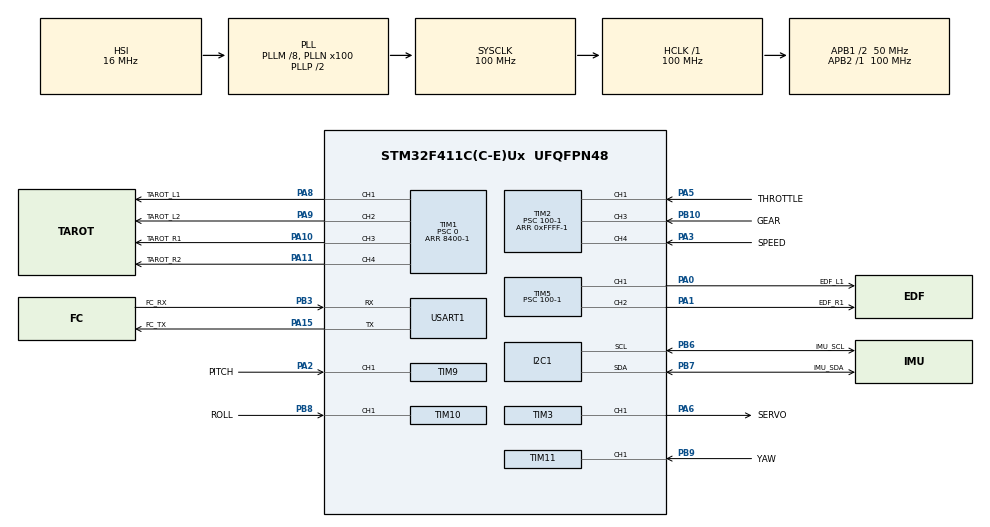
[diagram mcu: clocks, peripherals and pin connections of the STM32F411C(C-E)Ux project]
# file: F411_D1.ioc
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Dma.Request0=TIM3_CH1/TRIG
Dma.TIM3_CH1/TRIG.0.Direction=DMA_MEMORY_TO_PERIPH
Dma.TIM3_CH1/TRIG.0.FIFOMode=DMA_FIFOMODE_ENABLE
Dma.TIM3_CH1/TRIG.0.FIFOThreshold=DMA_FIFO_THRESHOLD_FULL
Dma.TIM3_CH1/TRIG.0.Instance=DMA1_Stream4
Dma.TIM3_CH1/TRIG.0.MemBurst=DMA_MBURST_SINGLE
Dma.TIM3_CH1/TRIG.0.MemDataAlignment=DMA_MDATAALIGN_HALFWORD
Dma.TIM3_CH1/TRIG.0.MemInc=DMA_MINC_ENABLE
Dma.TIM3_CH1/TRIG.0.Mode=DMA_CIRCULAR
Dma.TIM3_CH1/TRIG.0.PeriphBurst=DMA_PBURST_SINGLE
Dma.TIM3_CH1/TRIG.0.PeriphDataAlignment=DMA_PDATAALIGN_HALFWORD
Dma.TIM3_CH1/TRIG.0.PeriphInc=DMA_PINC_DISABLE
Dma.TIM3_CH1/TRIG.0.Priority=DMA_PRIORITY_HIGH
I2C1.I2C_Mode=I2C_Fast
Mcu.Family=STM32F4
Mcu.Name=STM32F411C(C-E)Ux
Mcu.Package=UFQFPN48
NVIC.DMA1_Stream4_IRQn=true\:0\:0\:false\:false\:true\:false\:true\:true
NVIC.PriorityGroup=NVIC_PRIORITYGROUP_4
NVIC.RCC_IRQn=true\:0\:0\:false\:false\:true\:true\:false\:true
NVIC.TIM1_BRK_TIM9_IRQn=true\:0\:0\:false\:false\:true\:true\:true\:true
NVIC.TIM1_TRG_COM_TIM11_IRQn=true\:0\:0\:false\:false\:true\:true\:true\:true
NVIC.TIM1_UP_TIM10_IRQn=true\:0\:0\:false\:false\:true\:true\:true\:true
NVIC.TIM2_IRQn=true\:0\:0\:false\:false\:true\:true\:true\:true
NVIC.TIM4_IRQn=true\:0\:0\:false\:false\:true\:true\:true\:true
NVIC.USART1_IRQn=true\:0\:0\:false\:false\:true\:true\:true\:true
PA0-WKUP.GPIO_Label=EDF_L1
PA0-WKUP.GPIO_PuPd=GPIO_PULLDOWN
PA0-WKUP.GPIO_Speed=GPIO_SPEED_FREQ_HIGH
PA0-WKUP.Signal=S_TIM5_CH1
PA1.GPIO_Label=EDF_R1
PA1.GPIO_PuPd=GPIO_PULLDOWN
PA1.GPIO_Speed=GPIO_SPEED_FREQ_HIGH
PA1.Signal=S_TIM5_CH2
PA10.GPIO_Label=TAROT_R1
PA10.GPIO_PuPd=GPIO_PULLDOWN
PA10.GPIO_Speed=GPIO_SPEED_FREQ_HIGH
PA10.Signal=S_TIM1_CH3
PA11.GPIO_Label=TAROT_R2
PA11.GPIO_PuPd=GPIO_PULLDOWN
PA11.GPIO_Speed=GPIO_SPEED_FREQ_HIGH
PA11.Signal=S_TIM1_CH4
PA15.GPIO_Label=FC_TX
PA15.GPIO_Speed=GPIO_SPEED_FREQ_HIGH
PA15.Mode=Asynchronous
PA15.Signal=USART1_TX
PA2.GPIO_Label=PITCH
PA2.GPIO_PuPd=GPIO_PULLDOWN
PA2.GPIO_Speed=GPIO_SPEED_FREQ_VERY_HIGH
PA2.Signal=S_TIM9_CH1
PA3.GPIO_Label=SPEED
PA3.GPIO_PuPd=GPIO_PULLDOWN
PA3.GPIO_Speed=GPIO_SPEED_FREQ_VERY_HIGH
PA3.Signal=S_TIM2_CH4
PA5.GPIO_Label=THROTTLE
PA5.GPIO_PuPd=GPIO_PULLDOWN
PA5.GPIO_Speed=GPIO_SPEED_FREQ_VERY_HIGH
PA5.Signal=S_TIM2_CH1_ETR
PA6.GPIO_Label=SERVO
PA6.GPIO_PuPd=GPIO_PULLDOWN
PA6.GPIO_Speed=GPIO_SPEED_FREQ_HIGH
PA6.Signal=S_TIM3_CH1
PA8.GPIO_Label=TAROT_L1
PA8.GPIO_PuPd=GPIO_PULLDOWN
PA8.GPIO_Speed=GPIO_SPEED_FREQ_HIGH
PA8.Signal=S_TIM1_CH1
PA9.GPIO_Label=TAROT_L2
PA9.GPIO_PuPd=GPIO_PULLDOWN
PA9.GPIO_Speed=GPIO_SPEED_FREQ_HIGH
PA9.Signal=S_TIM1_CH2
PB10.GPIO_Label=GEAR
PB10.GPIO_PuPd=GPIO_PULLDOWN
PB10.GPIO_Speed=GPIO_SPEED_FREQ_VERY_HIGH
PB10.Signal=S_TIM2_CH3
PB3.GPIO_Label=FC_RX
PB3.GPIO_Speed=GPIO_SPEED_FREQ_HIGH
PB3.Mode=Asynchronous
PB3.Signal=USART1_RX
PB6.GPIO_Label=IMU_SCL
PB6.GPIO_Speed=GPIO_SPEED_FREQ_HIGH
PB6.Mode=I2C
PB6.Signal=I2C1_SCL
PB7.GPIO_Label=IMU_SDA
PB7.GPIO_Speed=GPIO_SPEED_FREQ_HIGH
PB7.Mode=I2C
PB7.Signal=I2C1_SDA
PB8.GPIO_Label=ROLL
PB8.GPIO_PuPd=GPIO_PULLDOWN
PB8.GPIO_Speed=GPIO_SPEED_FREQ_VERY_HIGH
PB8.Signal=S_TIM10_CH1
PB9.GPIO_Label=YAW
PB9.GPIO_PuPd=GPIO_PULLDOWN
PB9.GPIO_Speed=GPIO_SPEED_FREQ_VERY_HIGH
PB9.Signal=S_TIM11_CH1
ProjectManager.HeapSize=0x200
ProjectManager.StackSize=0x400
ProjectManager.TargetToolchain=STM32CubeIDE
RCC.48MHZClocksFreq_Value=50000000
RCC.AHBFreq_Value=100000000
RCC.APB1CLKDivider=RCC_HCLK_DIV2
RCC.APB1Freq_Value=50000000
RCC.APB1TimFreq_Value=100000000
RCC.APB2Freq_Value=100000000
RCC.APB2TimFreq_Value=100000000
RCC.CortexFreq_Value=100000000
RCC.HCLKFreq_Value=100000000
RCC.HSE_VALUE=25000000
RCC.HSI_VALUE=16000000
RCC.LSE_VALUE=32768
RCC.PLLM=8
RCC.PLLN=100
RCC.RCC_RTC_Clock_SourceVirtual=RCC_RTCCLKSOURCE_LSI
RCC.RCC_RTC_Clock_Source_FROM_HSE=RCC_RTCCLKSOURCE_HSE_DIV25
RCC.SYSCLKFreq_VALUE=100000000
RCC.SYSCLKSource=RCC_SYSCLKSOURCE_PLLCLK
RCC.VCOOutputFreq_Value=200000000
SH.S_TIM10_CH1.0=TIM10_CH1,Input_Capture1_from_TI1
SH.S_TIM11_CH1.0=TIM11_CH1,Input_Capture1_from_TI1
SH.S_TIM1_CH1.0=TIM1_CH1,PWM Generation1 CH1
SH.S_TIM1_CH2.0=TIM1_CH2,PWM Generation2 CH2
SH.S_TIM1_CH3.0=TIM1_CH3,PWM Generation3 CH3
SH.S_TIM1_CH4.0=TIM1_CH4,PWM Generation4 CH4
SH.S_TIM2_CH1_ETR.0=TIM2_CH1,Input_Capture1_from_TI1
SH.S_TIM2_CH3.0=TIM2_CH3,Input_Capture3_from_TI3
SH.S_TIM2_CH4.0=TIM2_CH4,Input_Capture4_from_TI4
SH.S_TIM3_CH1.0=TIM3_CH1,PWM Generation1 CH1
SH.S_TIM5_CH1.0=TIM5_CH1,PWM Generation1 CH1
SH.S_TIM5_CH2.0=TIM5_CH2,PWM Generation2 CH2
SH.S_TIM9_CH1.0=TIM9_CH1,Input_Capture1_from_TI1
TIM1.AutoReloadPreload=TIM_AUTORELOAD_PRELOAD_ENABLE
TIM1.Channel-PWM\ Generation1\ CH1=TIM_CHANNEL_1
TIM1.Channel-PWM\ Generation2\ CH2=TIM_CHANNEL_2
TIM1.Channel-PWM\ Generation3\ CH3=TIM_CHANNEL_3
TIM1.Channel-PWM\ Generation4\ CH4=TIM_CHANNEL_4
TIM1.Period=8400-1
TIM1.Prescaler=0
TIM10.AutoReloadPreload=TIM_AUTORELOAD_PRELOAD_ENABLE
TIM10.Channel=TIM_CHANNEL_1
TIM10.ICPolarity_CH1=TIM_INPUTCHANNELPOLARITY_BOTHEDGE
TIM10.Period=0xFFFF-1
TIM10.Prescaler=100-1
TIM11.AutoReloadPreload=TIM_AUTORELOAD_PRELOAD_ENABLE
TIM11.Channel=TIM_CHANNEL_1
TIM11.ICPolarity_CH1=TIM_INPUTCHANNELPOLARITY_BOTHEDGE
TIM11.Period=0xFFFF-1
TIM11.Prescaler=100-1
TIM2.AutoReloadPreload=TIM_AUTORELOAD_PRELOAD_ENABLE
TIM2.Channel-Input_Capture1_from_TI1=TIM_CHANNEL_1
TIM2.Channel-Input_Capture3_from_TI3=TIM_CHANNEL_3
TIM2.Channel-Input_Capture4_from_TI4=TIM_CHANNEL_4
TIM2.ICPolarity_CH1=TIM_INPUTCHANNELPOLARITY_BOTHEDGE
TIM2.ICPolarity_CH3=TIM_INPUTCHANNELPOLARITY_BOTHEDGE
TIM2.ICPolarity_CH4=TIM_INPUTCHANNELPOLARITY_BOTHEDGE
TIM2.Period=0xFFFF-1
TIM2.Prescaler=100-1
TIM3.Channel-PWM\ Generation1\ CH1=TIM_CHANNEL_1
TIM3.Period=1000-1
TIM3.Prescaler=2000-1
TIM3.Pulse-PWM\ Generation1\ CH1=2000
TIM4.AutoReloadPreload=TIM_AUTORELOAD_PRELOAD_ENABLE
TIM4.Period=60000-1
TIM4.Prescaler=100-1
TIM5.AutoReloadPreload=TIM_AUTORELOAD_PRELOAD_ENABLE
TIM5.Channel-PWM\ Generation1\ CH1=TIM_CHANNEL_1
TIM5.Channel-PWM\ Generation2\ CH2=TIM_CHANNEL_2
TIM5.Period=2000-1
TIM5.Prescaler=100-1
TIM9.AutoReloadPreload=TIM_AUTORELOAD_PRELOAD_ENABLE
TIM9.Channel-Input_Capture1_from_TI1=TIM_CHANNEL_1
TIM9.ICPolarity_CH1=TIM_INPUTCHANNELPOLARITY_BOTHEDGE
TIM9.Period=0xFFFF-1
TIM9.Prescaler=100-1
USART1.VirtualMode=VM_ASYNC
VP_RTC_VS_RTC_Activate.Mode=RTC_Enabled
VP_TIM10_VS_ClockSourceINT.Mode=Enable_Timer
VP_TIM11_VS_ClockSourceINT.Mode=Enable_Timer
VP_TIM4_VS_ClockSourceINT.Mode=Internal
board=custom

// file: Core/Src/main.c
/* USER CODE BEGIN Header */
/**
 ******************************************************************************
 * @file           : main.c
 * @brief          : Main program body
 ******************************************************************************
 * @attention
 *
 * Copyright (c) 2023 STMicroelectronics.
 * All rights reserved.
 *
 * This software is licensed under terms that can be found in the LICENSE file
 * in the root directory of this software component.
 * If no LICENSE file comes with this software, it is provided AS-IS.
 *
 ******************************************************************************
 */
/* USER CODE END Header */
#include "main.h"
#include "dma.h"
#include "i2c.h"
#include "rtc.h"
#include "tim.h"
#include "usart.h"
#include "gpio.h"

/* USER CODE BEGIN Includes */
#include "init.h"
#include "timer.h"
#include "bridge.h"
#include "imu.h" // recovery imu
#include "servo.h"
#include "motor.h"
#include "remote_control.h"
#include "flight_control.h"

/* USER CODE END Includes */

/* USER CODE BEGIN PV */

uint32_t last_tick = 0, last_rtc = 0;
uint32_t diff_us = 0, diff_sec = 0;

/* USER CODE END PV */

void SystemClock_Config(void);

int main(void)
{

  /* MCU Configuration--------------------------------------------------------*/

  /* Reset of all peripherals, Initializes the Flash interface and the Systick. */
  HAL_Init();

  /* Configure the system clock */
  SystemClock_Config();

  /* Initialize all configured peripherals */
  MX_GPIO_Init();
  MX_DMA_Init();
  MX_TIM1_Init();
  MX_TIM2_Init();
  MX_TIM5_Init();
  MX_TIM3_Init();
  MX_TIM9_Init();
  MX_TIM10_Init();
  MX_TIM11_Init();
  MX_USART1_UART_Init();
  MX_I2C1_Init();
  MX_TIM4_Init();
  MX_RTC_Init();
  /* USER CODE BEGIN 2 */

// STATUS
	HAL_StatusTypeDef status = HAL_OK;

// PRE-INIT
	pre_init();

// Initialize Bridge
	if (HAL_OK != (status = bridge_init(&huart1, &hi2c1))) {
		return status;
	}

// Initialize RADIO
	if (HAL_OK != (status = rc_init_all())) { //tim 2,9,10,11
		return HAL_ERROR;
	}

// Initialize SERVO
//	if (HAL_OK != (status = servo_init_vtol(&htim3, TIM_CHANNEL_1))) { // PWM
//		return HAL_ERROR;
//	}
// Initialize MOTORs
//	if (HAL_OK != (status = motor_init_all())) { //tim 1,5
//		return HAL_ERROR;
//	}
// Start throttle
//	motor_start_all();
//
//	HAL_Delay(5000);

//	motor_pwm(get_M_L1(), get_start_throttle(get_M_L1()) + 1200); //scale oneshot
//	motor_pwm(get_M_L2(), get_start_throttle(get_M_L2()) + 1200); //scale oneshot
//	motor_pwm(get_M_R1(), get_start_throttle(get_M_R1()) + 2000); //scale oneshot FIXME fixed CHECK
//	motor_pwm(get_M_R2(), get_start_throttle(get_M_R2()) + 2000); //scale oneshot FIXME fixed CHECK

//	HAL_Delay(5000);

//	motor_pwm(get_M_EDF_L1(), get_start_throttle(get_M_EDF_L1()) + 21);
//	motor_pwm(get_M_EDF_R1(), get_start_throttle(get_M_EDF_R1()) + 21);
//	HAL_Delay(2000);

//	motor_pwm(get_M_EDF_L1(), get_start_throttle(get_M_EDF_L1()));
//	motor_pwm(get_M_EDF_R1(), get_start_throttle(get_M_EDF_R1()));
//	motor_pwm(get_M_L1(), get_start_throttle(get_M_L1()));
//	motor_pwm(get_M_L2(), get_start_throttle(get_M_L2()));
//	motor_pwm(get_M_R1(), get_start_throttle(get_M_R1()));
//	motor_pwm(get_M_R2(), get_start_throttle(get_M_R2()));

// Cruise SERVO
//	if (HAL_OK != (status = servo_cruise_vehicle())) { //DMA
//		return HAL_ERROR;
//	}
//	while (!servo_get_cruise()) // FIXME alternate without while/delay
//		;

  /* USER CODE END 2 */

  /* Infinite loop */
  /* USER CODE BEGIN WHILE */

// wait for arming
	while (!bridge_is_arming()) {
		status = bridge_drone_arming();
		if (HAL_OK != status) {
			return status;
		}
	}

// main loop
	last_rtc = timer_rtc_sec();
	while (1) {
		last_tick = timer_tim4_us();

		if (get_imu()->running) { // RECOVERY MODE
			if (BMI160_OK == imu_get_data()) {
				flight_imu_calibration(last_tick, diff_us);
				flight_ahrs(last_tick, diff_us);
				flight_recovery(last_tick, diff_us);
			} else {
				//second recovery
			}
		}
		flight_radio_calibration();
		diff_us = timer_tim4_diff_us(last_tick);

//		if (servo_get_cruise()) { // FIXME alternate without while/delay
//			break;
//		}
//		HAL_StatusTypeDef status = bridge_transmit("1097;1919;1508;1508;1919;");
//		if (HAL_BUSY == status) {
//			HAL_Delay(100);
//		}
		diff_sec = timer_rtc_diff_sec(last_rtc);
	}
    /* USER CODE END WHILE */

    /* USER CODE BEGIN 3 */

// Vtol SERVO
//	if (HAL_OK != (status = servo_vtol_vehicle())) { //DMA
//		return HAL_ERROR;
//	}
//	while (servo_get_cruise()) // FIXME alternate without while/delay
//		;
// Deinitialize MOTOR //one method and check what init
//	status = motor_deinit(get_M_L1());
//	status = motor_deinit(get_M_L2());
//	status = motor_deinit(get_M_R1());
//	status = motor_deinit(get_M_R2());
//	status = motor_deinit(get_M_EDF_L1());
//	status = motor_deinit(get_M_EDF_R1());
//
// Deinitialize SERVO
//	status = servo_deinit(); //if initialized deinitialize
  /* USER CODE END 3 */
}

void SystemClock_Config(void)
{
  RCC_OscInitTypeDef RCC_OscInitStruct = {0};
  RCC_ClkInitTypeDef RCC_ClkInitStruct = {0};

  /** Configure the main internal regulator output voltage
  */
  __HAL_RCC_PWR_CLK_ENABLE();
  __HAL_PWR_VOLTAGESCALING_CONFIG(PWR_REGULATOR_VOLTAGE_SCALE1);

  /** Initializes the RCC Oscillators according to the specified parameters
  * in the RCC_OscInitTypeDef structure.
  */
  RCC_OscInitStruct.OscillatorType = RCC_OSCILLATORTYPE_HSI|RCC_OSCILLATORTYPE_LSI;
  RCC_OscInitStruct.HSIState = RCC_HSI_ON;
  RCC_OscInitStruct.HSICalibrationValue = RCC_HSICALIBRATION_DEFAULT;
  RCC_OscInitStruct.LSIState = RCC_LSI_ON;
  RCC_OscInitStruct.PLL.PLLState = RCC_PLL_ON;
  RCC_OscInitStruct.PLL.PLLSource = RCC_PLLSOURCE_HSI;
  RCC_OscInitStruct.PLL.PLLM = 8;
  RCC_OscInitStruct.PLL.PLLN = 100;
  RCC_OscInitStruct.PLL.PLLP = RCC_PLLP_DIV2;
  RCC_OscInitStruct.PLL.PLLQ = 4;
  if (HAL_RCC_OscConfig(&RCC_OscInitStruct) != HAL_OK)
  {
    Error_Handler();
  }

  /** Initializes the CPU, AHB and APB buses clocks
  */
  RCC_ClkInitStruct.ClockType = RCC_CLOCKTYPE_HCLK|RCC_CLOCKTYPE_SYSCLK
                              |RCC_CLOCKTYPE_PCLK1|RCC_CLOCKTYPE_PCLK2;
  RCC_ClkInitStruct.SYSCLKSource = RCC_SYSCLKSOURCE_PLLCLK;
  RCC_ClkInitStruct.AHBCLKDivider = RCC_SYSCLK_DIV1;
  RCC_ClkInitStruct.APB1CLKDivider = RCC_HCLK_DIV2;
  RCC_ClkInitStruct.APB2CLKDivider = RCC_HCLK_DIV1;

  if (HAL_RCC_ClockConfig(&RCC_ClkInitStruct, FLASH_LATENCY_3) != HAL_OK)
  {
    Error_Handler();
  }
}

void Error_Handler(void)
{
	__disable_irq();
	while (1) {
	}
}
